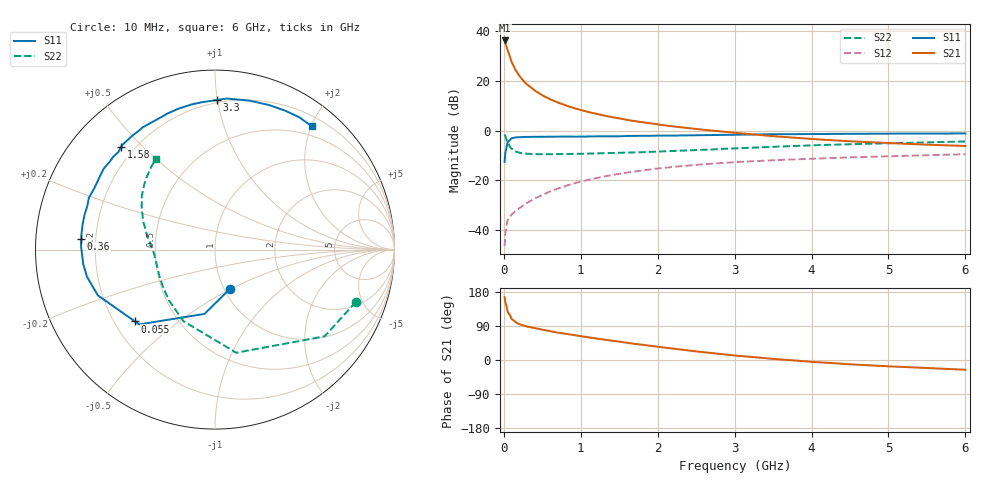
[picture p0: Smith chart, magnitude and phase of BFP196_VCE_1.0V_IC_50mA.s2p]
! Infineon Technologies  Discrete & RF Semiconductors
! BFP196
! VCE = 1.0 V,  IC =  50mA
! Common Emitter S-Parameters:  Jan 2016
# GHz  S  MA  R  50
!  f  S11  S21  S12  S22
! GHz  MAG  ANG  MAG  ANG  MAG  ANG  MAG  ANG
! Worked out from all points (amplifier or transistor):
!   210 points, 10 MHz to 6 GHz, reference 50 ohm
!   highest |S21| = 36.1 dB at 10 MHz (marker M1)
!   |S21| within 3 dB of that: start of sweep to 39.86 MHz
!   unconditionally stable (mu >= 1): 384 MHz to end of sweep
!   at 185 MHz: K = 0.76, MSG = 27.1 dB, |S12| = -31.5 dB
!   at 1.52 GHz: K = 1.11, MAG = 9.0 dB, |S12| = -17.3 dB
!   at 6 GHz: K = 1.02, MAG = 0.9 dB, |S12| = -9.5 dB
!   S11 on the Smith chart (normalised r, x): 10 MHz: 1.06, -0.49; 55 MHz: 0.28, -0.36; 360 MHz: 0.14, +0.04; 1.58 GHz: 0.15, +0.43; 3.3 GHz: 0.18, +0.99; 6 GHz: 0.35, +2.00
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0.01  0.2351 -69.7  64.07 165.5  0.0048 75.2  0.8369 -20.4
0.02  0.3632 -99.3  58.09 151.9  0.009 65.6  0.779 -38.3
0.05  0.5937 -135.4  40.52 126.5  0.0162 49.6  0.5866 -78.4
0.055  0.5993 -138.1  38.74 125.4  0.0166 49.1  0.564 -81.0
0.1  0.7008 -158.7  23.84 108.3  0.0205 45.2  0.4359 -113.8
0.15  0.7293 -168.0  16.48 99.9  0.0243 47.1  0.3827 -131.8
0.2  0.7387 -173.8  12.56 94.6  0.0275 50.8  0.3597 -142.6
0.24  0.7401 -177.1  10.55 91.9  0.0304 52.5  0.3503 -148.6
0.3  0.7464 178.8  8.419 88.3  0.0354 56.4  0.3429 -154.8
0.36  0.7472 175.5  7.179 85.9  0.0399 58.3  0.3386 -158.9
0.4  0.7491 173.3  6.361 83.8  0.043 59.3  0.3368 -161.7
0.5  0.7511 169.2  5.089 80.0  0.051 61.0  0.3357 -166.2
0.6  0.7524 165.0  4.252 76.0  0.0598 61.7  0.3356 -169.3
0.8  0.7595 157.8  3.202 69.2  0.0772 61.5  0.338 -173.6
1.02  0.7566 149.7  2.532 62.3  0.0962 59.8  0.3425 -177.4
1.58  0.7759 132.3  1.658 46.1  0.142 52.6  0.3604 175.7
2.02  0.7914 120.0  1.313 34.5  0.1742 45.9  0.3796 170.0
3.1  0.8261 93.3  0.874 10.2  0.237 29.5  0.444 155.3
3.3  0.8333 89.4  0.821 6.7  0.2455 26.7  0.4575 152.5
4.1  0.8524 75.4  0.662 -6.0  0.2758 16.5  0.511 142.5
5.1  0.8678 62.1  0.553 -17.5  0.3084 5.3  0.5603 132.0
6  0.8733 52.0  0.491 -25.7  0.3353 -4.7  0.6039 123.0
